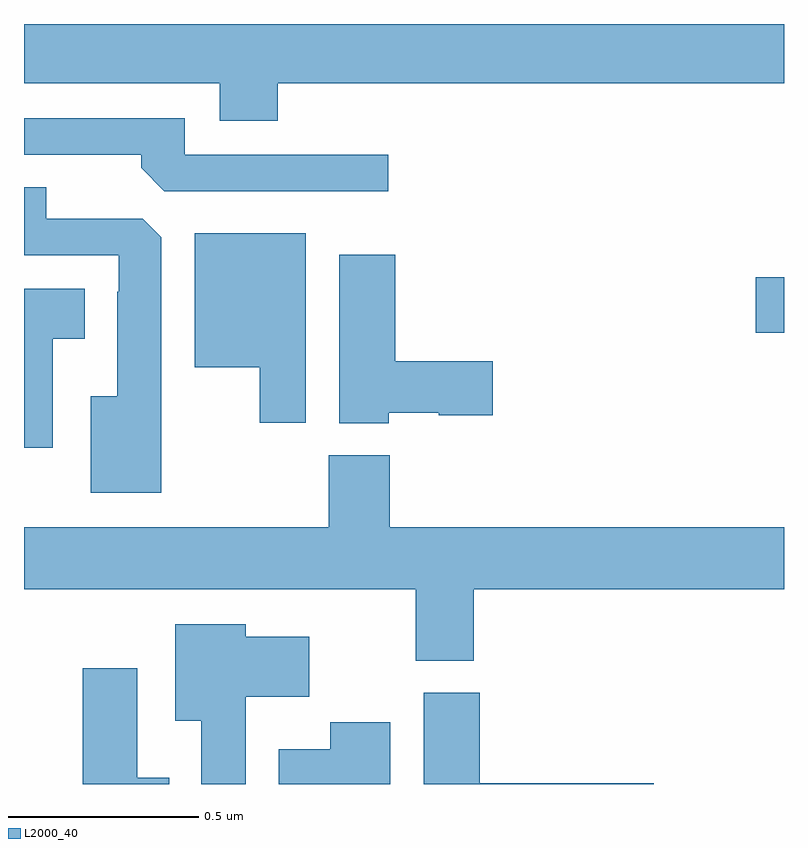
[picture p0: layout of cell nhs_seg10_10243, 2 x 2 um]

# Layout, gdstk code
import gdstk
lib = gdstk.Library(unit=1e-6, precision=1e-09)
def R(c, l, rs):  # rectangles x0, y0, x1, y1
    for r in rs: c.add(gdstk.rectangle(r[:2], r[2:], *l))
def P(c, l, *ps):  # polygons
    for p in ps: c.add(gdstk.Polygon(p, *l))
L2000_40 = (2000, 40)

nhs_seg10_10243 = lib.new_cell('nhs_seg10_10243')
R(nhs_seg10_10243, L2000_40, [(241.926,1271.687,242,1271.834)])
P(nhs_seg10_10243, L2000_40, [(240.668,1272.344),(242,1272.344),(242,1272.5),(240,1272.5),(240,1272.344),(240.515,1272.344),(240.515,1272.245),(240.668,1272.245)],
  [(240.958,1272.156),(240.423,1272.156),(240.423,1272.252),(240,1272.252),(240,1272.156),(240.308,1272.156),(240.308,1272.122),(240.369,1272.06),(240.958,1272.06)],
  [(240.361,1271.939),(240.312,1271.988),(240.058,1271.988),(240.058,1272.071),(240,1272.071),(240,1271.892),(240.249,1271.892),(240.249,1271.795),(240.245,1271.795),(240.245,1271.521),(240.176,1271.521),(240.176,1271.267),(240.361,1271.267)],
  [(240.742,1271.95),(240.449,1271.95),(240.449,1271.597),(240.62,1271.597),(240.62,1271.451),(240.742,1271.451)],
  [(240.96,1271.477),(241.091,1271.477),(241.091,1271.47),(241.234,1271.47),(241.234,1271.612),(240.977,1271.612),(240.977,1271.893),(240.83,1271.893),(240.83,1271.45),(240.96,1271.45)],
  [(240.076,1271.672),(240.16,1271.672),(240.16,1271.803),(240,1271.803),(240,1271.385),(240.076,1271.385)],
  [(241.184,1271.012),(242,1271.012),(242,1271.176),(240.962,1271.176),(240.962,1271.365),(240.802,1271.365),(240.802,1271.176),(240,1271.176),(240,1271.012),(241.031,1271.012),(241.031,1270.825),(241.184,1270.825)],
  [(240.583,1270.73),(240.751,1270.73),(240.751,1270.888),(240.583,1270.888),(240.583,1270.921),(240.398,1270.921),(240.398,1270.667),(240.467,1270.667),(240.467,1270.5),(240.583,1270.5)],
  [(240.382,1270.516),(240.298,1270.516),(240.298,1270.804),(240.155,1270.804),(240.155,1270.5),(240.382,1270.5)],
  [(241.657,1270.502),(241.199,1270.502),(241.199,1270.74),(241.052,1270.74),(241.052,1270.5),(241.657,1270.5)],
  [(240.964,1270.663),(240.806,1270.663),(240.806,1270.591),(240.671,1270.591),(240.671,1270.5),(240.964,1270.5)])

lib.write_gds('nhs_seg10_10243.gds')
